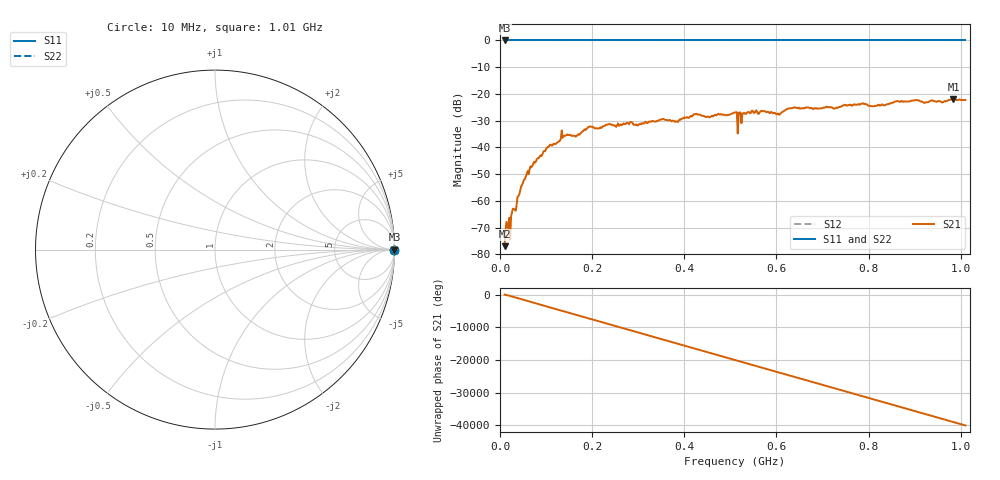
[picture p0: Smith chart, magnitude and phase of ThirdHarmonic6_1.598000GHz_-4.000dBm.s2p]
! 8/16/2025 7:02:40 PM
! C:\ANRITSUVNA\TEMP\TEMP.S2P
! CHANNEL.1
! TR.MEASUREMENT
! RAW.DATA
! RF.CORRECTION.OFF
! AVERAGING.OFF
! IF.BANDWIDTH: 5KHZ
! SWEEPTYPE:  FREQ.SWEEP(Linear)
! Reference Plane Port Info
! PORT:  PORT1  PORT2
! DISTANCE:  0  m  0  m
! TIME:  0  s  0  s
! PHASE.OFFSET:  0  deg.  0  deg.
! LOSS:  0  dB  0  dB
! REF.LOSS:  0  dB  0  dB
! REF.FREQ:  0  Hz  0  Hz
! Power Info
! POWER:  -20  dBm  -20  dBm
! EFF.POWER:  -20  dBm  -20  dBm
! SOURCE.ATTEN:  0  dB  0  dB
! TEST.ATTEN:  0  dB  0  dB
# GHZ S RI R 50.0
! FREQ.GHZ  S11RE  S11IM  S21RE  S21IM  S12RE  S12IM  S22RE  S22IM
!; PortSelection: Port_12
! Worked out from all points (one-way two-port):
!   501 points, 10 MHz to 1.01 GHz, reference 50 ohm
!   highest |S21| = -21.86 dB at 984 MHz (marker M1); lowest = -76.9 dB at 10 MHz (marker M2)
!   lowest |S11| = 0.0 dB at 10 MHz (marker M3)
!   |S11| at or under -10 dB: nowhere
!   |S22| runs from 0.0 to 0.0 dB; largest |S21 - S12| = 1.1
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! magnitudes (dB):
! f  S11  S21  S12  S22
! 10 MHz  0.0  -76.9  0.0  0.0
! 16 MHz  0.0  -69.2  0.0  0.0
! 20 MHz  0.0  -66.3  0.0  0.0
! 48 MHz  0.0  -54.0  0.0  0.0
! 70 MHz  0.0  -46.9  0.0  0.0
! 136 MHz  0.0  -36.4  0.0  0.0
! 178 MHz  0.0  -34.1  0.0  0.0
! 196 MHz  0.0  -32.1  0.0  0.0
! 344 MHz  0.0  -30.0  0.0  0.0
! 382 MHz  0.0  -30.2  0.0  0.0
! 424 MHz  0.0  -27.6  0.0  0.0
! 452 MHz  0.0  -28.5  0.0  0.0
! 510 MHz  0.0  -26.9  0.0  0.0
! 520 MHz  0.0  -26.9  0.0  0.0
! 522 MHz  0.0  -27.0  0.0  0.0
! 544 MHz  0.0  -27.1  0.0  0.0
! 604 MHz  0.0  -27.4  0.0  0.0
! 630 MHz  0.0  -25.3  0.0  0.0
! 678 MHz  0.0  -25.5  0.0  0.0
! 844 MHz  0.0  -23.7  0.0  0.0
! 984 MHz  0.0  -21.9  0.0  0.0
! 1.01 GHz  0.0  -22.2  0.0  0.0
